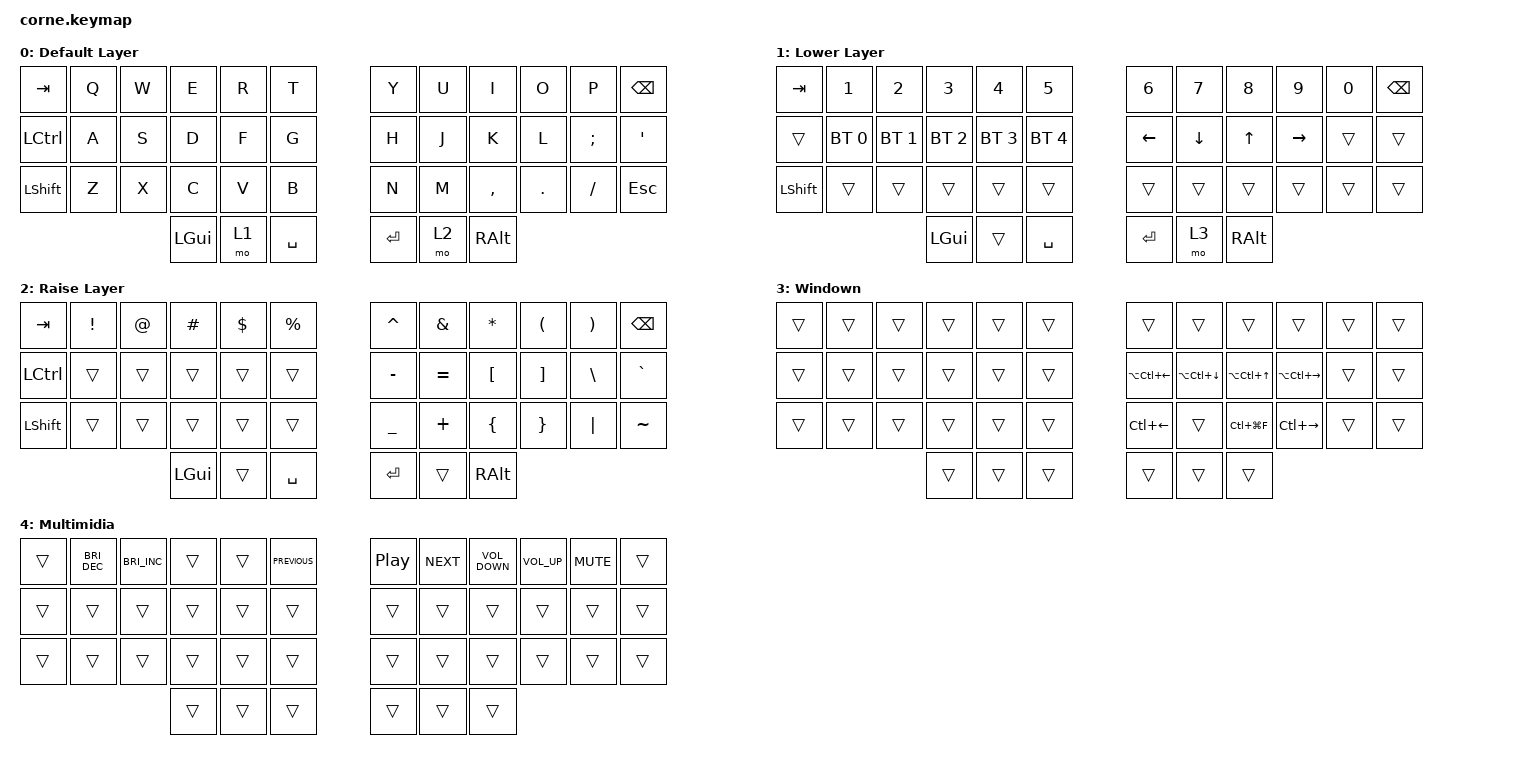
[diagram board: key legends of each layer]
/*
 * Copyright (c) 2020 The ZMK Contributors
 *
 * SPDX-License-Identifier: MIT
 */

#include <behaviors.dtsi>
#include <dt-bindings/zmk/bt.h>
#include <dt-bindings/zmk/keys.h>

/ {
    combos {
        compatible = "zmk,combos";

        go-to-multimidia {
            bindings = <&mo 4>;
            key-positions = <38 39>;
        };
    };

    keymap {
        compatible = "zmk,keymap";

        default_layer {
            display-name = "Default Layer";

            // -----------------------------------------------------------------------------------------
            // |  TAB |  Q  |  W  |  E  |  R  |  T  |   |  Y  |  U   |  I  |  O  |  P  | BSPC |
            // | CTRL |  A  |  S  |  D  |  F  |  G  |   |  H  |  J   |  K  |  L  |  ;  |  '   |
            // | SHFT |  Z  |  X  |  C  |  V  |  B  |   |  N  |  M   |  ,  |  .  |  /  | ESC  |
            //                    | GUI | LWR | SPC |   | ENT | RSE  | ALT |

            bindings = <
&kp TAB    &kp Q  &kp W  &kp E     &kp R  &kp T        &kp Y    &kp U  &kp I      &kp O    &kp P     &kp BSPC
&kp LCTRL  &kp A  &kp S  &kp D     &kp F  &kp G        &kp H    &kp J  &kp K      &kp L    &kp SEMI  &kp SQT
&kp LSHFT  &kp Z  &kp X  &kp C     &kp V  &kp B        &kp N    &kp M  &kp COMMA  &kp DOT  &kp FSLH  &kp ESC
                         &kp LGUI  &mo 1  &kp SPACE    &kp RET  &mo 2  &kp RALT
            >;
        };

        lower_layer {
            display-name = "Lower Layer";

            // -----------------------------------------------------------------------------------------
            // |  TAB |  1  |  2  |  3  |  4  |  5  |   |  6  |  7  |  8  |  9  |  0  | BSPC |
            // |      | BT1 | BT2 | BT3 | BT4 | BT5 |   | LFT | DWN |  UP | RGT |     |      |
            // | SHFT |     |     |     |     |     |   |     |     |     |     |     |      |
            //                    | GUI |     | SPC |   | ENT |     | ALT |

            bindings = <
&kp TAB     &kp N1        &kp N2        &kp N3        &kp N4        &kp N5          &kp N6    &kp N7    &kp N8    &kp N9     &kp N0  &kp BSPC
&trans      &bt BT_SEL 0  &bt BT_SEL 1  &bt BT_SEL 2  &bt BT_SEL 3  &bt BT_SEL 4    &kp LEFT  &kp DOWN  &kp UP    &kp RIGHT  &trans  &trans
&kp LSHFT   &trans        &trans        &trans        &trans        &trans          &trans    &trans    &trans    &trans     &trans  &trans
                                        &kp LGUI      &trans        &kp SPACE       &kp RET   &mo 3     &kp RALT
            >;
        };

        raise_layer {
            display-name = "Raise Layer";

            // -----------------------------------------------------------------------------------------
            // |  TAB |  !  |  @  |  #  |  $  |  %  |   |  ^  |  &  |  *  |  (  |  )  | BSPC |
            // | CTRL |     |     |     |     |     |   |  -  |  =  |  [  |  ]  |  \  |  `   |
            // | SHFT |     |     |     |     |     |   |  _  |  +  |  {  |  }  | "|" |  ~   |
            //                    | GUI |     | SPC |   | ENT |     | ALT |

            bindings = <
&kp TAB    &kp EXCL  &kp AT  &kp HASH  &kp DLLR  &kp PRCNT    &kp CARET  &kp AMPS   &kp ASTRK  &kp LPAR  &kp RPAR  &kp BSPC
&kp LCTRL  &trans    &trans  &trans    &trans    &trans       &kp MINUS  &kp EQUAL  &kp LBKT   &kp RBKT  &kp BSLH  &kp GRAVE
&kp LSHFT  &trans    &trans  &trans    &trans    &trans       &kp UNDER  &kp PLUS   &kp LBRC   &kp RBRC  &kp PIPE  &kp TILDE
                             &kp LGUI  &trans    &kp SPACE    &kp RET    &trans     &kp RALT
            >;
        };

        Windown {
            bindings = <
&trans  &trans  &trans  &trans  &trans  &trans    &trans            &trans            &trans                &trans             &trans  &trans
&trans  &trans  &trans  &trans  &trans  &trans    &kp LA(LC(LEFT))  &kp LA(LC(DOWN))  &kp LA(LC(UP_ARROW))  &kp LA(LC(RIGHT))  &trans  &trans
&trans  &trans  &trans  &trans  &trans  &trans    &kp LC(LEFT)      &trans            &kp LC(LG(F))         &kp LC(RIGHT)      &trans  &trans
                        &trans  &trans  &trans    &trans            &trans            &trans
            >;
        };

        Multimidia {
            bindings = <
&trans  &kp C_BRI_DEC  &kp C_BRIGHTNESS_INC  &trans  &trans  &kp C_PREVIOUS    &kp C_PLAY_PAUSE  &kp C_NEXT  &kp C_VOLUME_DOWN  &kp C_VOLUME_UP  &kp C_MUTE  &trans
&trans  &trans         &trans                &trans  &trans  &trans            &trans            &trans      &trans             &trans           &trans      &trans
&trans  &trans         &trans                &trans  &trans  &trans            &trans            &trans      &trans             &trans           &trans      &trans
                                             &trans  &trans  &trans            &trans            &trans      &trans
            >;
        };
    };
};
